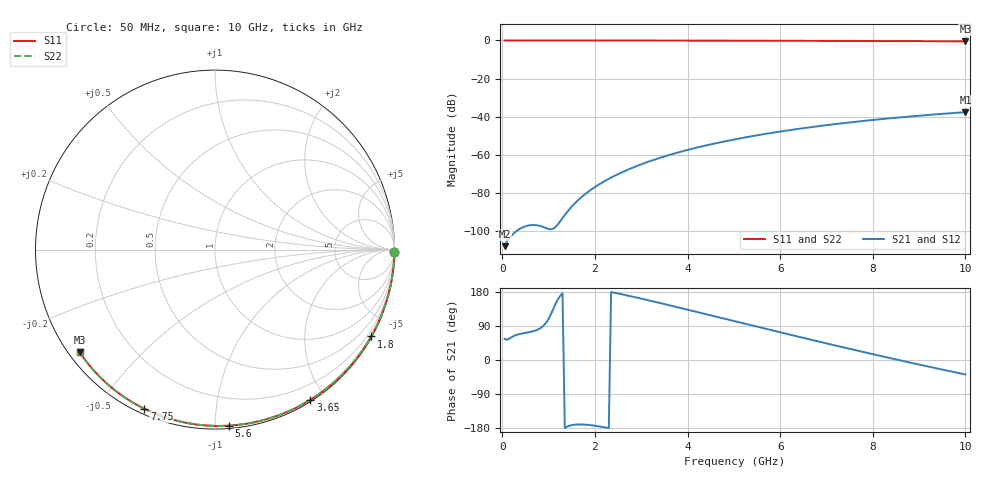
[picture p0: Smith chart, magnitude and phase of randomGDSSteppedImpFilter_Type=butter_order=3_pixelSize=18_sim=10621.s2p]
! freq	dB(S11)	phase(S11)	dB(S12)	phase(S12)
!  dB(S21)	phase(S21)	dB(S22)	phase(S22)
!S-par simulation data
#  GHz  S  DB  R 50
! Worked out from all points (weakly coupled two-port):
!   200 points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, 50 MHz to 10 GHz, reference 50 ohm
!   highest |S21| = -37.63 dB at 10 GHz (marker M1); lowest = -108.0 dB at 50 MHz (marker M2)
!   lowest |S11| = -0.5 dB at 10 GHz (marker M3), VSWR 36.03, Z = 1.54 - j16.8 ohm
!   |S11| at or under -10 dB: nowhere
!   |S22| runs from -0.5 to 0.0 dB; largest |S21 - S12| = 0
!   S11 on the Smith chart (normalised r, x): 50 MHz: open; 1.8 GHz: 0.03, -3.86; 3.65 GHz: 0.02, -1.82; 5.6 GHz: 0.02, -1.08; 7.75 GHz: 0.02, -0.65; 10 GHz: 0.03, -0.34
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0.05  -0.00 -0.8  -107.96 55.7  -107.96 55.7  -0.00 -0.8
0.45  -0.01 -7.4  -97.98 70.5  -97.98 70.5  -0.01 -7.4
0.9  -0.02 -14.7  -98.05 91.7  -98.05 91.7  -0.02 -14.7
1.75  -0.04 -28.3  -81.40 -170.3  -81.40 -170.3  -0.04 -28.3
1.8  -0.04 -29.1  -80.42 -170.7  -80.42 -170.7  -0.04 -29.1
1.85  -0.04 -29.9  -79.49 -171.2  -79.49 -171.2  -0.04 -29.9
2.05  -0.04 -33.0  -76.14 -174.3  -76.14 -174.3  -0.04 -33.0
2.2  -0.04 -35.4  -73.95 -177.4  -73.95 -177.4  -0.04 -35.4
2.55  -0.05 -40.8  -69.56 174.2  -69.56 174.2  -0.05 -40.8
2.95  -0.06 -47.0  -65.46 163.4  -65.46 163.4  -0.06 -47.0
3.4  -0.07 -53.8  -61.64 150.5  -61.64 150.5  -0.07 -53.8
3.65  -0.08 -57.5  -59.79 143.2  -59.79 143.2  -0.08 -57.5
4.3  -0.09 -67.1  -55.65 123.8  -55.65 123.8  -0.09 -67.0
5.05  -0.12 -77.8  -51.77 101.3  -51.77 101.3  -0.12 -77.7
5.6  -0.14 -85.4  -49.36 84.9  -49.36 84.9  -0.14 -85.4
6.15  -0.16 -92.9  -47.26 68.7  -47.26 68.7  -0.16 -92.9
6.7  -0.19 -100.2  -45.39 52.6  -45.39 52.6  -0.19 -100.2
7.2  -0.22 -106.8  -43.86 38.1  -43.86 38.1  -0.22 -106.7
7.75  -0.26 -113.9  -42.36 22.4  -42.36 22.4  -0.26 -113.9
8.35  -0.31 -121.6  -40.89 5.6  -40.89 5.6  -0.31 -121.5
9.15  -0.39 -131.9  -39.19 -16.1  -39.19 -16.1  -0.39 -131.8
10  -0.48 -142.9  -37.63 -38.1  -37.63 -38.1  -0.48 -142.8
